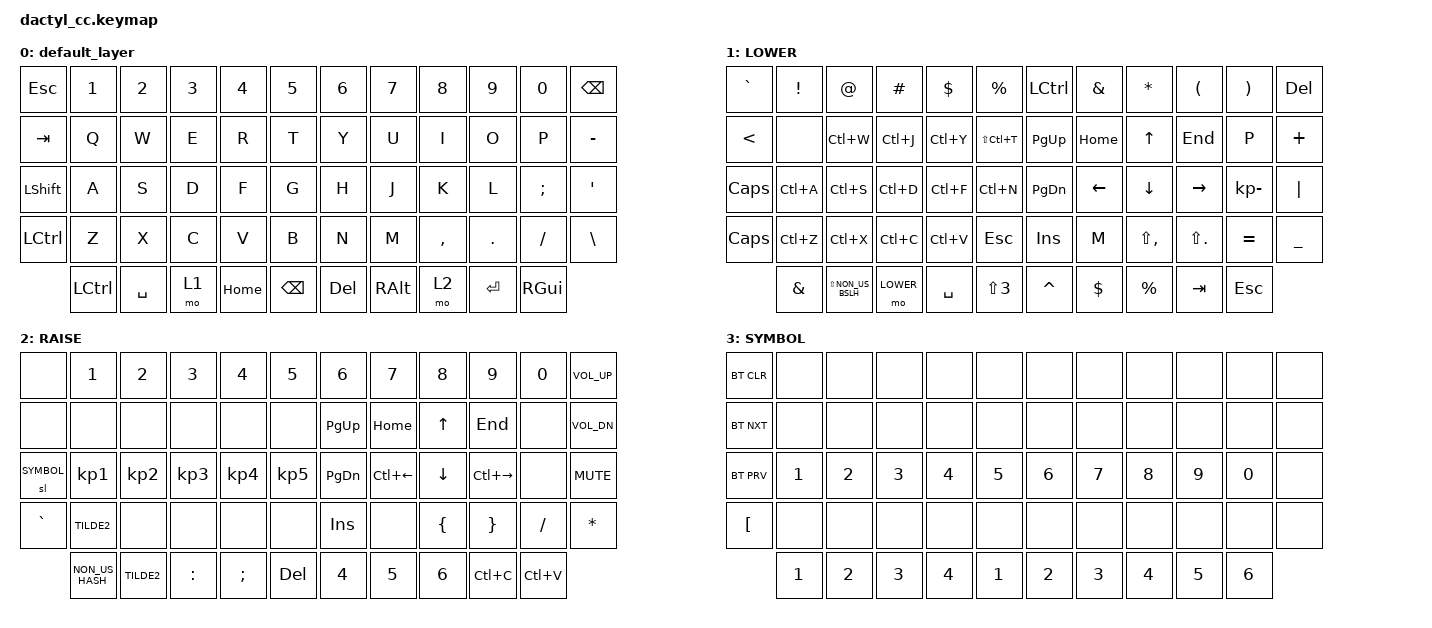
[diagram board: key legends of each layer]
#include <behaviors.dtsi>
#include <dt-bindings/zmk/bt.h>
#include <dt-bindings/zmk/keys.h>

//  ###########################################################
//  ###########        WORKING 2024/03/23        ###############
//  ###########################################################
// #############            LAYERS            #################

#define SYM_L   1
#define NAV_L   2
#define NAV2_L  3

//#define OTHER_L 4

#define DEFAULT 0
#define LOWER   1
#define RAISE   2
#define SYMBOL  3

// Desktop and tab navigation shortcuts		

#define DESKTOP_LT   LC(LG(LEFT))
#define DESKTOP_RT   LC(LG(RIGHT))
#define WINDOW_LT    LA(LS(TAB))
#define WINDOW_RT    LA(TAB)
#define TAB_LT       LC(LS(TAB))
#define TAB_RT       LC(TAB)

// NOT USED  &kp LG(LC(LEFT))  &kp LG(LC(RIGHT))
// Generic bindings

#define KILL_WINDOW  LA(F4)
#define MAXIMIZE     LG(UP)
#define MINIMIZE     LG(DOWN)
#define UN_MINIMIZE  LG(LC(N))

&mt {
    flavor = "hold-preferred";
    tapping-term-ms = <500>;
};

&lt {
    flavor = "balanced";
    tapping-term-ms = <150>;
};

&sl { release-after-ms = <2000>; };

/ {
    conditional_layers {
        compatible = "zmk,conditional-layers";

        tri_layer {
            if-layers = <1 2>;
            then-layer = <4>;
        };
    };

    macros {
        ZMK_MACRO(inv_qm,

        wait-ms = <10>;
        tap-ms = <10>;
        bindings =
            <&macro_press &kp LALT>,
            <&macro_tap &kp KP_N1 &kp KP_N6 &kp KP_N8>,
            <&macro_release &kp LALT>;

        )
    };

    behaviors {
        //   td_mt_ls: tap_dance_mod_tap {
        //       compatible = "zmk,behavior-tap-dance";
        //       label = "TAP_DANCE_LSHIFT";
        //       #binding-cells = <0>;
        //       tapping-term-ms = <200>;
        //       bindings = <&mt LSHIFT CAPSLOCK>, <&kp LCTRL>;
        //   };
        //   td_mt_rs: tap_dance_mod_tap {
        //       compatible = "zmk,behavior-tap-dance";
        //       label = "TAP_DANCE_RSHIFT";
        //       #binding-cells = <0>;
        //       tapping-term-ms = <200>;
        //       bindings = <&mt RSHIFT CAPSLOCK>, <&kp RCTRL>;
        //   };            
    };

    keymap {
        compatible = "zmk,keymap";

        default_layer {
            // ------------------------------------------------------------------------------------------------------------
            // |  `    |  1  |  2  |  3   |  4   |  5   |                   |  6   |  7    |  8    |  9   |   0   |       |
            // |  ESC  |  Q  |  W  |  E   |  R   |  T   |                   |  Y   |  U    |  I    |  O   |   P   | BKSPC |
            // |  TAB  |  A  |  S  |  D   |  F   |  G   |                   |  H   |  J    |  K    |  L   |   ;   |   '   |
            // | SHIFT |  Z  |  X  |  C   |  V   |  B   |        |  |       |  N   |  M    |  ,    |  .   |   /   | SHIFT |
            //               | GUI | ALT  | CTRL | LOWER|  ENTER |  | SPACE | RAISE| CTRL  | ALT   | GUI  |

            bindings = <
&kp ESCAPE        &kp N1     &kp N2     &kp N3  &kp N4    &kp N5      &kp N6      &kp N7         &kp N8     &kp N9     &kp N0    &kp BACKSPACE
&kp TAB           &kp Q      &kp W      &kp E   &kp R     &kp T       &kp Y       &kp U          &kp I      &kp O      &kp P     &kp MINUS
&kp LEFT_SHIFT    &kp A      &kp S      &kp D   &kp F     &kp G       &kp H       &kp J          &kp K      &kp L      &kp SEMI  &kp SQT
&kp LEFT_CONTROL  &kp Z      &kp X      &kp C   &kp V     &kp B       &kp N       &kp M          &kp COMMA  &kp DOT    &kp FSLH  &kp BACKSLASH
                  &kp LCTRL  &kp SPACE  &mo 1   &kp HOME  &kp BSPC    &kp DELETE  &kp RIGHT_ALT  &mo 2      &kp ENTER  &kp RGUI
            >;
        };

        LOWER {
            bindings = <
&kp GRAVE  &kp EXCLAMATION  &kp AT_SIGN          &kp HASH   &kp DOLLAR  &kp PERCENT      &kp LCTRL  &kp AMPERSAND  &kp ASTERISK   &kp LEFT_PARENTHESIS  &kp RIGHT_PARENTHESIS  &kp DELETE
&kp LT     &none            &kp LC(W)            &kp LC(J)  &kp LC(Y)   &kp LS(LC(T))    &kp PG_UP  &kp HOME       &kp UP         &kp END               &kp P                  &kp PLUS
&kp CAPS   &kp LC(A)        &kp LC(S)            &kp LC(D)  &kp LC(F)   &kp LC(N)        &kp PG_DN  &kp LEFT       &kp DOWN       &kp RIGHT             &kp KP_SUBTRACT        &kp PIPE
&kp CAPS   &kp LC(Z)        &kp LC(X)            &kp LC(C)  &kp LC(V)   &kp ESC          &kp INS    &kp M          &kp LS(COMMA)  &kp LS(DOT)           &kp EQUAL              &kp UNDER
           &kp AMPS         &kp LS(NON_US_BSLH)  &mo LOWER  &kp SPACE   &kp LS(N3)       &kp CARET  &kp DOLLAR     &kp PRCNT      &kp TAB               &kp ESC
            >;
        };

        RAISE {
            bindings = <
&none       &kp N1           &kp N2           &kp N3           &kp N4           &kp N5             &kp N6     &kp N7        &kp N8    &kp N9         &kp N0     &kp C_VOL_UP
&none       &none            &none            &none            &none            &none              &kp PG_UP  &kp HOME      &kp UP    &kp END        &none      &kp C_VOL_DN
&sl SYMBOL  &kp KP_NUMBER_1  &kp KP_NUMBER_2  &kp KP_NUMBER_3  &kp KP_NUMBER_4  &kp KP_NUMBER_5    &kp PG_DN  &kp LC(LEFT)  &kp DOWN  &kp LC(RIGHT)  &none      &kp C_MUTE
&kp GRAVE   &kp TILDE2       &none            &none            &none            &none              &kp INS    &none         &kp LBRC  &kp RBRC       &kp FSLH   &kp ASTRK
            &kp NON_US_HASH  &kp TILDE2       &kp COLON        &kp SEMI         &kp DEL            &kp N4     &kp N5        &kp N6    &kp LC(C)      &kp LC(V)
            >;
        };

        SYMBOL {
            bindings = <
&bt BT_CLR  &none   &none   &none   &none   &none     &none   &none   &none   &none   &none   &none
&bt BT_NXT  &none   &none   &none   &none   &none     &none   &none   &none   &none   &none   &none
&bt BT_PRV  &kp N1  &kp N2  &kp N3  &kp N4  &kp N5    &kp N6  &kp N7  &kp N8  &kp N9  &kp N0  &none
&kp LBKT    &none   &none   &none   &none   &none     &none   &none   &none   &none   &none   &none
            &kp N1  &kp N2  &kp N3  &kp N4  &kp N1    &kp N2  &kp N3  &kp N4  &kp N5  &kp N6
            >;
        };
    };
};
